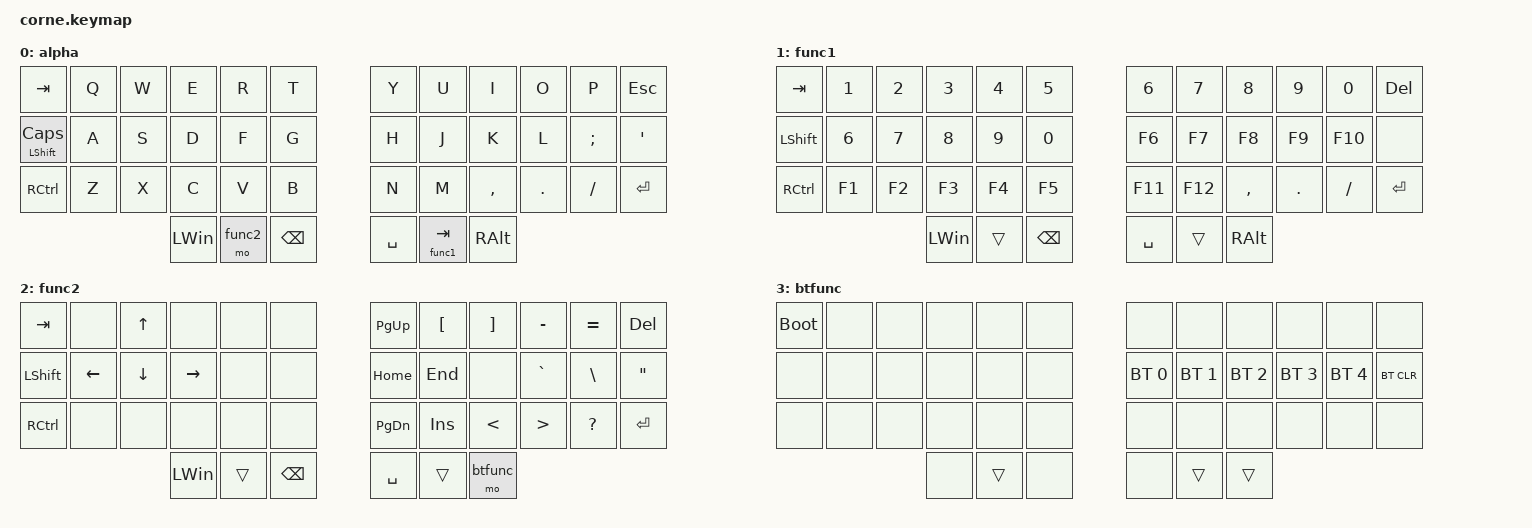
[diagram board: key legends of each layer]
/*
 * Copyright (c) 2020 The ZMK Contributors
 *
 * SPDX-License-Identifier: MIT
 */

#include <behaviors.dtsi>
#include <dt-bindings/zmk/bt.h>
#include <dt-bindings/zmk/keys.h>

#define alpha     0
#define func1     1
#define func2     2
#define btfunc    3

/ {
    behaviors {
        tap_hold: tap_hold {
            compatible = "zmk,behavior-hold-tap";
            label = "TAP_HOLD";
            bindings = <&kp>, <&kp>;

            #binding-cells = <2>;
            tapping-term-ms = <190>;
            flavor = "balanced";
        };

        tap_holdmo: tap_holdmo {
            compatible = "zmk,behavior-hold-tap";
            label = "TAP_HOLDMO";
            bindings = <&mo>, <&kp>;

            #binding-cells = <2>;
            tapping-term-ms = <190>;
            flavor = "balanced";
        };
    };

    keymap {
        compatible = "zmk,keymap";

        alpha {
            bindings = <
&kp TAB                       &kp Q  &kp W  &kp E     &kp R      &kp T       &kp Y      &kp U                  &kp I      &kp O    &kp P     &kp ESC
&tap_hold LSHFT CAPSLOCK      &kp A  &kp S  &kp D     &kp F      &kp G       &kp H      &kp J                  &kp K      &kp L    &kp SEMI  &kp APOS
&kp RCTRL                     &kp Z  &kp X  &kp C     &kp V      &kp B       &kp N      &kp M                  &kp COMMA  &kp DOT  &kp FSLH  &kp ENTER
                                            &kp LWIN  &mo func2  &kp BSPC    &kp SPACE  &tap_holdmo func1 TAB  &kp RALT
            >;
        };

        func1 {
            bindings = <
&kp TAB    &kp N1  &kp N2  &kp N3    &kp N4  &kp N5      &kp N6     &kp N7   &kp N8     &kp N9   &kp N0    &kp DEL
&kp LSHFT  &kp N6  &kp N7  &kp N8    &kp N9  &kp N0      &kp F6     &kp F7   &kp F8     &kp F9   &kp F10   &none
&kp RCTRL  &kp F1  &kp F2  &kp F3    &kp F4  &kp F5      &kp F11    &kp F12  &kp COMMA  &kp DOT  &kp FSLH  &kp ENTER
                           &kp LWIN  &trans  &kp BSPC    &kp SPACE  &trans   &kp RALT
            >;
        };

        func2 {
            bindings = <
&kp TAB    &none     &kp UP    &none      &none   &none       &kp PG_UP  &kp LBKT    &kp RBKT    &kp MINUS  &kp EQUAL  &kp DEL
&kp LSHFT  &kp LEFT  &kp DOWN  &kp RIGHT  &none   &none       &kp HOME   &kp END     &none       &kp GRAVE  &kp BSLH   &kp DQT
&kp RCTRL  &none     &none     &none      &none   &none       &kp PG_DN  &kp INSERT  &kp LT      &kp GT     &kp QMARK  &kp ENTER
                               &kp LWIN   &trans  &kp BSPC    &kp SPACE  &trans      &mo btfunc
            >;
        };

        btfunc {
            bindings = <
&bootloader  &none  &none  &none  &none   &none    &none         &none         &none         &none         &none         &none
&none        &none  &none  &none  &none   &none    &bt BT_SEL 0  &bt BT_SEL 1  &bt BT_SEL 2  &bt BT_SEL 3  &bt BT_SEL 4  &bt BT_CLR
&none        &none  &none  &none  &none   &none    &none         &none         &none         &none         &none         &none
                           &none  &trans  &none    &none         &trans        &trans
            >;
        };
    };
};
